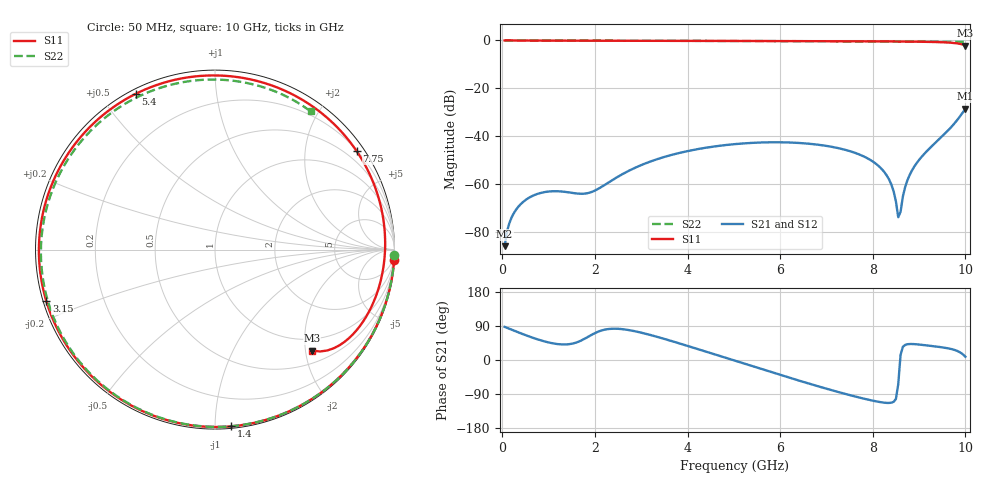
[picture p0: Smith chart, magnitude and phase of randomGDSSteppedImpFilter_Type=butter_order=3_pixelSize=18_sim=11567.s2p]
! freq	dB(S11)	phase(S11)	dB(S12)	phase(S12)
!  dB(S21)	phase(S21)	dB(S22)	phase(S22)
!S-par simulation data
#  GHz  S  DB  R 50
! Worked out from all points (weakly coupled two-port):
!   200 points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, 50 MHz to 10 GHz, reference 50 ohm
!   highest |S21| = -28.48 dB at 10 GHz (marker M1); lowest = -85.8 dB at 50 MHz (marker M2)
!   lowest |S11| = -2.2 dB at 10 GHz (marker M3), VSWR 8.11, Z = 37.1 - j107 ohm
!   |S11| at or under -10 dB: nowhere
!   |S22| runs from -0.6 to 0.0 dB; largest |S21 - S12| = 0
!   S11 on the Smith chart (normalised r, x): 50 MHz: 0, -35; 1.4 GHz: 0.01, -1.10; 3.15 GHz: 0.01, -0.15; 5.4 GHz: 0.02, +0.61; 7.75 GHz: 0.22, +3.18; 10 GHz: 0.74, -2.13
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0.05  -0.00 -3.3  -85.75 87.5  -85.75 87.5  -0.00 -1.8
0.3  -0.03 -19.4  -70.47 75.2  -70.47 75.2  -0.02 -10.9
0.55  -0.05 -35.2  -65.88 63.4  -65.88 63.4  -0.03 -19.8
1.4  -0.10 -84.7  -63.23 41.2  -63.23 41.2  -0.06 -49.5
1.75  -0.11 -102.7  -63.89 54.2  -63.89 54.2  -0.08 -61.3
2.45  -0.13 -134.8  -57.34 82.6  -57.34 82.6  -0.10 -83.9
3.15  -0.15 -163.1  -50.81 67.6  -50.81 67.6  -0.13 -105.2
3.4  -0.16 -172.5  -49.14 59.2  -49.14 59.2  -0.14 -112.5
4.2  -0.19 158.6  -45.36 29.6  -45.36 29.6  -0.17 -135.2
5.05  -0.22 129.0  -43.16 -3.0  -43.16 -3.0  -0.22 -158.5
5.4  -0.23 117.0  -42.69 -16.5  -42.69 -16.5  -0.24 -168.0
6.7  -0.28 71.6  -43.19 -65.1  -43.19 -65.1  -0.32 156.4
7.75  -0.34 34.8  -47.86 -100.3  -47.86 -100.3  -0.39 126.1
8.1  -0.38 22.6  -51.89 -109.8  -51.89 -109.8  -0.42 115.6
8.35  -0.40 14.0  -57.88 -113.3  -57.88 -113.3  -0.43 107.9
8.45  -0.42 10.5  -62.83 -110.4  -62.83 -110.4  -0.44 104.8
8.55  -0.43 7.1  -73.68 -63.8  -73.68 -63.8  -0.45 101.7
8.6  -0.44 5.4  -71.46 13.5  -71.46 13.5  -0.45 100.1
8.7  -0.46 1.9  -61.03 39.8  -61.03 39.8  -0.46 97.0
8.9  -0.50 -4.9  -52.48 41.9  -52.48 41.9  -0.47 90.7
9.55  -0.79 -27.7  -39.01 32.4  -39.01 32.4  -0.51 69.8
10  -2.15 -46.1  -28.48 8.7  -28.48 8.7  -0.57 55.3
